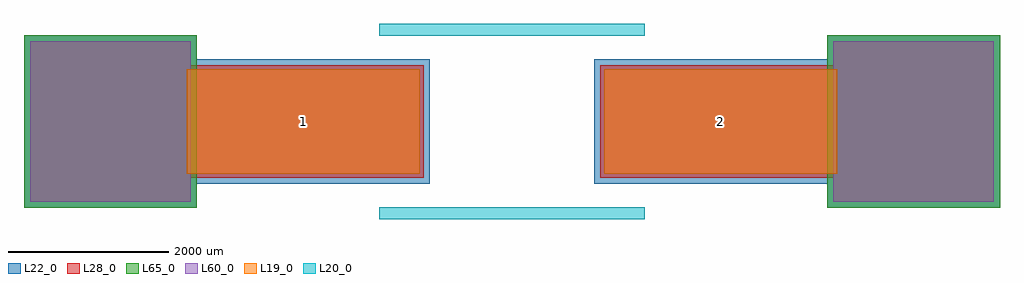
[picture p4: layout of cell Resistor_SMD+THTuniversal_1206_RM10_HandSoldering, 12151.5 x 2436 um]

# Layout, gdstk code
import gdstk
lib = gdstk.Library(unit=1e-6, precision=1e-09)
def R(c, l, rs):  # rectangles x0, y0, x1, y1
    for r in rs: c.add(gdstk.rectangle(r[:2], r[2:], *l))
L19_0 = (19, 0)
L20_0 = (20, 0)
L22_0 = (22, 0)
L28_0 = (28, 0)
L60_0 = (60, 0)
L65_0 = (65, 0)

resistor_smd_thtuniversa = lib.new_cell('Resistor_SMD+THTuniversal_1206_RM10_HandSoldering')
R(resistor_smd_thtuniversa, L19_0, [(-4050.83,-649.77,-1151.09,649.77), (1151.09,-649.77,4050.83,649.77)])
R(resistor_smd_thtuniversa, L22_0, [(-6075.75,-1074.49,-3926.77,1074.49), (3926.77,-1074.49,6075.75,1074.49), (-4175.83,-774.77,-1026.09,774.77), (1026.09,-774.77,4175.83,774.77)])
R(resistor_smd_thtuniversa, L28_0, [(-6000.75,-999.49,-4001.77,999.49), (4001.77,-999.49,6000.75,999.49), (-4100.83,-699.77,-1101.09,699.77), (1101.09,-699.77,4100.83,699.77)])
R(resistor_smd_thtuniversa, L60_0, [(-6000.75,-999.49,-4001.77,999.49), (4001.77,-999.49,6000.75,999.49)])
R(resistor_smd_thtuniversa, L65_0, [(-6075.75,-1074.49,-3926.77,1074.49), (3926.77,-1074.49,6075.75,1074.49)])
resistor_smd_thtuniversa.add(gdstk.FlexPath([(0,1143),(1651,1143)], 149.998, ends="flush", simple_path=True, layer=20, datatype=0))  # L20_0
resistor_smd_thtuniversa.add(gdstk.FlexPath([(0,1143),(-1651,1143)], 149.998, ends="flush", simple_path=True, layer=20, datatype=0))  # L20_0
resistor_smd_thtuniversa.add(gdstk.FlexPath([(1651,-1143),(-1651,-1143)], 149.998, ends="flush", simple_path=True, layer=20, datatype=0))  # L20_0
resistor_smd_thtuniversa.add(gdstk.Label('2', (2600.96,0), layer=28, texttype=0))
resistor_smd_thtuniversa.add(gdstk.Label('1', (-2600.96,0), layer=28, texttype=0))
resistor_smd_thtuniversa.add(gdstk.Label('type', (2700.02,-2700.02), layer=9, texttype=0))
resistor_smd_thtuniversa.add(gdstk.Label('devicename', (99.06,2400.3), layer=9, texttype=0))

lib.write_gds('Resistor_SMD_THTuniversal_1206_RM10_HandSoldering.gds')
